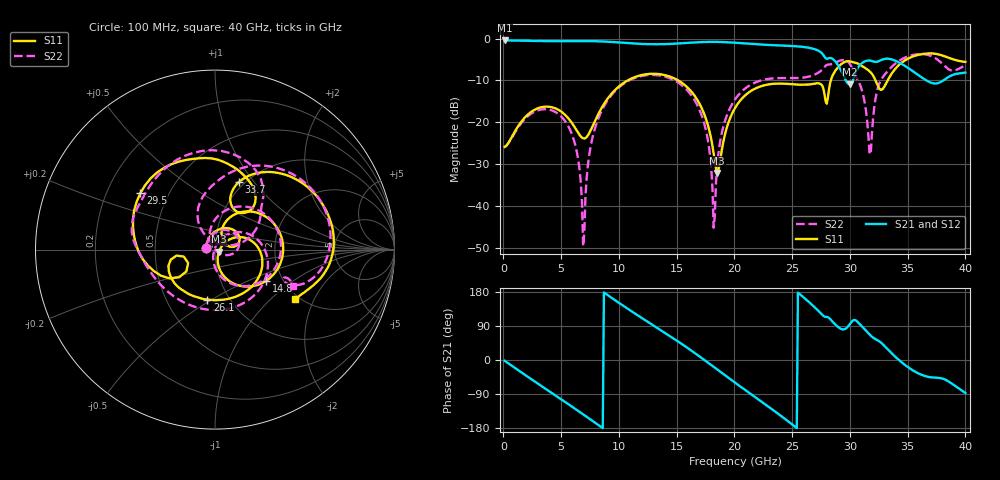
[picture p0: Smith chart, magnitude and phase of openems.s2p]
! BV_ts_refinout2: ThunderScope 50 Ω REFINOUT2, through via F.Cu → B.Cu (thick core)
! stackup: Thunderscope_Rev5.3 from the board file and its kisi.json
! ports: 1 in, 2 out
! openEMS 0.37.0, staircase, fine mesh (dfine 0.0175 mm), 4060260 cells
# Hz S RI R 50
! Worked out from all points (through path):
!   400 points, 100 MHz to 40 GHz, reference 50 ohm
!   highest |S21| = -0.45 dB at 100 MHz (marker M1); lowest = -10.9 dB at 30 GHz (marker M2)
!   group delay of S21, straight-line fit = 57.6 ps
!   lowest |S11| = -32.1 dB at 18.5 GHz (marker M3), VSWR 1.05, Z = 52.2 - j1.19 ohm
!   |S11| at or under -10 dB: start of sweep to 10.75 GHz; 15.14 GHz to 28.35 GHz (13.21 GHz wide, 60.8 % of centre); 32.22 GHz to 33.27 GHz (1.045 GHz wide, 3.19 % of centre)
!   |S22| runs from -49.5 to -3.7 dB; largest |S21 - S12| = 0.0023
!   S11 on the Smith chart (normalised r, x): 100 MHz: 0.90, +0.01; 14.8 GHz: 1.65, -0.64; 26.1 GHz: 0.79, -0.48; 29.5 GHz: 0.35, +0.30; 33.7 GHz: 0.94, +0.84; 40 GHz: 1.89, -1.45
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1e8  -0.0503 0.00805  0.9485 -0.0351  0.9486 -0.0353  -0.0503 0.00785
4.7e9  0.1353 0.0456  -0.1218 -0.9209  -0.1217 -0.9209  0.1275 0.00504
6.8e9  0.0583 0.0308  -0.7286 -0.5839  -0.7288 -0.5839  0.00779 -0.0081
6.9e9  0.0545 0.0348  -0.7498 -0.5566  -0.7499 -0.5565  0.00207 -0.00262
7.4e9  0.04 0.0612  -0.839 -0.408  -0.8391 -0.4079  -0.0205 0.0325
8.8e9  0.0646 0.161  -0.9183 0.0643  -0.9182 0.0644  -0.00237 0.1641
1.34e10  0.3755 -0.0401  0.1021 0.849  0.1017 0.8492  0.3635 -0.0291
1.48e10  0.2865 -0.1729  0.4926 0.7145  0.4926 0.715  0.2668 -0.1722
1.74e10  0.0311 -0.1202  0.91 0.000411  0.9104 0.000318  -0.00116 -0.0954
1.82e10  0.0156 -0.0402  0.8687 -0.282  0.8688 -0.2821  -0.00439 -0.00338
1.85e10  0.0221 -0.0114  0.8284 -0.3824  0.8284 -0.3826  0.00927 0.0283
2.01e10  0.1353 0.0697  0.4342 -0.7774  0.4346 -0.7773  0.1679 0.0931
2.28e10  0.2605 -0.1064  -0.4194 -0.7284  -0.4195 -0.7296  0.2682 -0.1888
2.61e10  -0.042 -0.2782  -0.7533 0.2379  -0.7542 0.2395  -0.2084 -0.2739
2.67e10  -0.1359 -0.2526  -0.6352 0.4244  -0.6347 0.426  -0.3031 -0.1955
2.95e10  -0.4153 0.315  0.0541 0.3426  0.0537 0.3418  -0.0174 0.5539
3e10  -0.24 0.4769  -0.0236 0.2842  -0.0242 0.2837  0.2269 0.4419
3.18e10  0.2187 0.3286  0.2355 0.4902  0.2372 0.4907  -0.00372 0.0416
3.23e10  0.1995 0.2219  0.3119 0.4251  0.313 0.4242  -0.098 0.1978
3.34e10  0.0967 0.3274  0.5214 0.237  0.5207 0.2369  0.0729 0.4224
3.37e10  0.1311 0.3746  0.5397 0.1474  0.5391 0.1472  0.1373 0.4507
4e10  0.4483 -0.2774  0.0201 -0.3924  0.0207 -0.3927  0.4362 -0.2042
